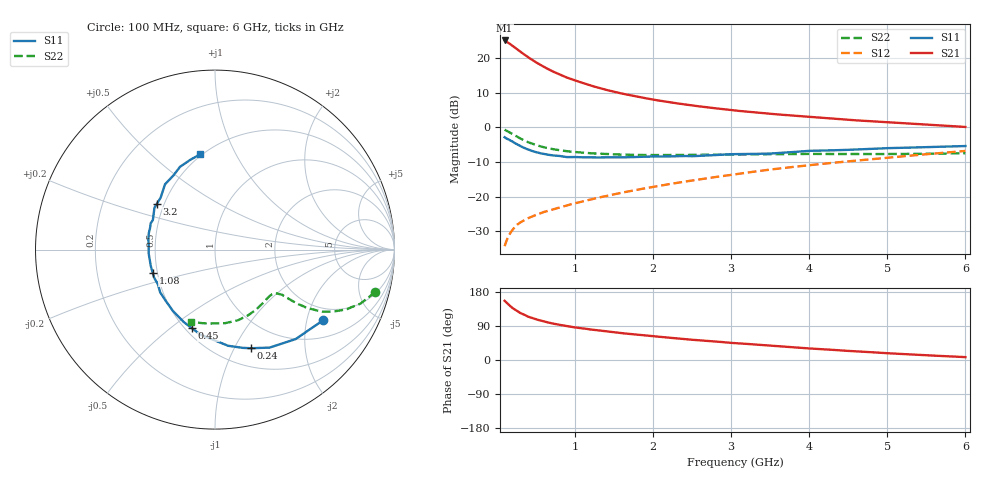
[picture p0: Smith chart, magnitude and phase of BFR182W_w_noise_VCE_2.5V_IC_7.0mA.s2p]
! Infineon Technologies  Discrete & RF Semiconductors
! BFR182W
! VCE =  2.5 V,  IC =  7.0 mA
! Common Emitter S-Parameters:  Nov 2015
# GHz  S  MA  R  50
!  f  S11  S21  S12  S22
! GHz  MAG  ANG  MAG  ANG  MAG  ANG  MAG  ANG
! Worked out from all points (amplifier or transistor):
!   192 points, 100 MHz to 6 GHz, reference 50 ohm
!   highest |S21| = 25.0 dB at 100 MHz (marker M1)
!   |S21| within 3 dB of that: start of sweep to 287.6 MHz
!   unconditionally stable (mu >= 1): 1.182 GHz to 2.844 GHz
!   at 440 MHz: K = 0.61, MSG = 22.7 dB, |S12| = -25.8 dB
!   at 1.7 GHz: K = 1.06, MAG = 12.3 dB, |S12| = -18.4 dB
!   at 6 GHz: K = 0.77, MSG = 3.5 dB, |S12| = -6.8 dB
!   lowest NFmin = 1.30 dB at 450 MHz
!   S11 on the Smith chart (normalised r, x): 100 MHz: 1.54, -2.51; 240 MHz: 0.70, -1.17; 450 MHz: 0.54, -0.60; 1.08 GHz: 0.47, -0.14; 3.2 GHz: 0.46, +0.28; 6 GHz: 0.49, +0.73
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0.1  0.7197 -33.2  17.83 156.2  0.0194 74.2  0.924 -14.8
0.15  0.6711 -48.0  16.46 146.0  0.0273 68.3  0.8646 -20.4
0.2  0.625 -60.9  15.03 137.3  0.0332 64.2  0.8017 -24.6
0.24  0.5847 -70.0  13.87 131.7  0.0376 61.2  0.7535 -27.1
0.3  0.5409 -82.2  12.31 124.1  0.0425 58.5  0.6919 -30.0
0.4  0.4808 -99.7  10.22 114.4  0.049 56.4  0.6106 -32.3
0.45  0.457 -106.2  9.411 111.1  0.0518 56.2  0.5828 -32.7
0.5  0.4396 -113.3  8.639 107.3  0.0546 56.0  0.555 -33.2
0.6  0.4144 -124.5  7.443 101.6  0.0601 56.4  0.5156 -33.6
0.7  0.3963 -133.7  6.498 96.8  0.0646 57.3  0.4884 -33.7
0.9  0.3724 -148.7  5.19 89.3  0.0752 59.2  0.452 -33.9
1.08  0.3704 -159.3  4.43 84.0  0.0848 61.0  0.4333 -34.8
1.1  0.3699 -160.3  4.356 83.5  0.0859 61.2  0.4315 -34.8
1.2  0.3693 -165.3  3.991 80.5  0.0914 62.0  0.4224 -35.3
1.5  0.3701 -176.9  3.254 73.1  0.1082 63.9  0.4077 -37.5
2.08  0.3799 164.9  2.424 61.2  0.1435 66.0  0.3985 -43.1
2.5  0.3833 154.6  2.06 53.4  0.171 66.4  0.4004 -48.0
3.1  0.4111 143.5  1.724 43.9  0.2142 65.6  0.4056 -57.1
3.2  0.4124 141.7  1.683 42.5  0.2221 65.3  0.4063 -58.7
4.1  0.4604 125.8  1.387 29.3  0.2923 61.7  0.413 -74.2
5.1  0.5037 111.4  1.165 16.9  0.3737 56.0  0.4122 -92.9
6  0.5373 98.8  1.012 7.6  0.4568 50.1  0.4238 -108.2
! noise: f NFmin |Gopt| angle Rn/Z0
0.45  1.3  0.26  40  0.29
0.9  1.45  0.25  81  0.23
1.8  2  0.21  157  0.2
